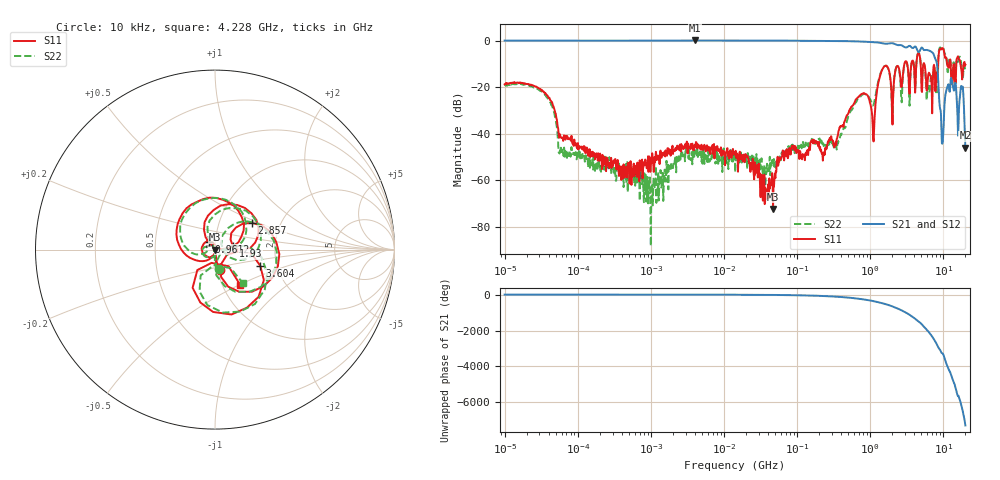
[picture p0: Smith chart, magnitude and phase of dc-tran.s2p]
#  HZ  S  RI  R  50.00
! Rohde & Schwarz Vector Network Analyzer
! Rohde-Schwarz,ZNL20-2Port,1323001220101312,1.72.1.6-23.02.1.246
! Created: UTC 10/2/2024, 9:20:31 PM
! freq[Hz]  re:S11  im:S11  re:S21  im:S21  re:S12  im:S12  re:S22  im:S22
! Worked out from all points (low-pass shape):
!   1000 points, 10 kHz to 20 GHz, reference 50 ohm
!   highest |S21| = 0.06 dB at 3.968 MHz (marker M1); lowest = -45.9 dB at 20 GHz (marker M2)
!   |S21| within 3 dB of the highest: start of sweep to 3.027 GHz; 3.13 GHz to 3.684 GHz (553.5 MHz wide, 16.2 % of centre)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
!   lowest |S11| = -72.2 dB at 46.87 MHz (marker M3), VSWR 1.00, Z = 50 - j0.0217 ohm
!   |S11| at or under -10 dB: start of sweep to 2.929 GHz; 5.481 GHz to 8.495 GHz (3.015 GHz wide, 43.1 % of centre); 12.57 GHz to 15.06 GHz (2.489 GHz wide, 18 % of centre)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
!   |S22| runs from -88.2 to -2.7 dB; largest |S21 - S12| = 0.0096
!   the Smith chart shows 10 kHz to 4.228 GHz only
!   S11 on the Smith chart (normalised r, x): 10 kHz: 1.03, -0.23; 961.2 MHz: 0.93, +0.08; 1.93 GHz: 1.22, +0.05; 2.857 GHz: 1.43, +0.45; 3.604 GHz: 1.64, -0.32; 4.228 GHz: 1.21, -0.50
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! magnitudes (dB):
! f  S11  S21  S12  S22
! 10 kHz  -18.8  0.0  0.0  -19.3
! 33.87 kHz  -21.7  0.0  -0.1  -22.5
! 57.97 kHz  -41.2  0.0  -0.1  -48.5
! 113.1 kHz  -46.3  0.0  -0.1  -50.5
! 1.26 MHz  -49.4  0.0  0.0  -56.4
! 3.968 MHz  -44.8  0.1  0.0  -47.7
! 14.25 MHz  -48.7  0.0  0.0  -56.5
! 46.87 MHz  -72.2  0.0  -0.1  -53.6
! 158.7 MHz  -43.4  -0.1  -0.2  -42.1
! 337.8 MHz  -43.4  -0.2  -0.2  -46.3
! 961.2 MHz  -24.9  -0.6  -0.6  -24.4
! 1.111 GHz  -43.3  -0.6  -0.7  -27.4
! 1.795 GHz  -12.6  -1.2  -1.3  -12.9
! 1.93 GHz  -19.7  -1.1  -1.2  -20.5
! 2.857 GHz  -11.9  -2.6  -2.6  -12.7
! 3.604 GHz  -11.4  -2.6  -2.7  -11.6
! 4.228 GHz  -12.4  -2.8  -2.9  -12.2
! 7.669 GHz  -15.4  -7.5  -7.5  -13.2
! 9.536 GHz  -3.3  -44.0  -44.1  -2.8
! 13.51 GHz  -13.4  -19.6  -19.6  -11.6
! 17.81 GHz  -13.8  -20.3  -20.3  -11.2
! 20 GHz  -10.3  -45.9  -45.1  -12.3
